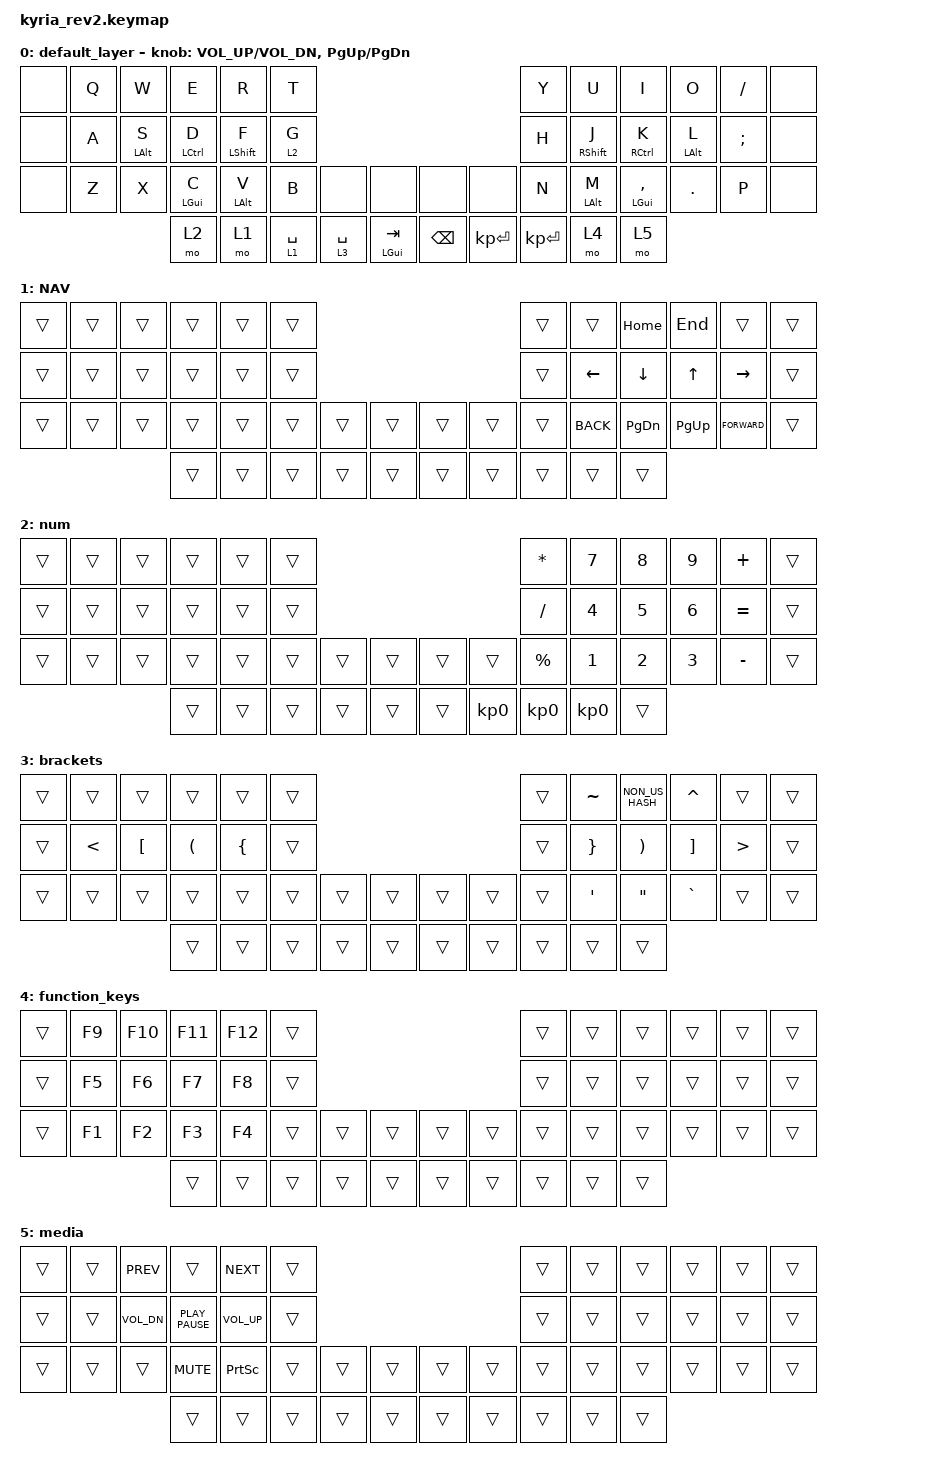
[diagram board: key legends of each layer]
/*
 * Copyright (c) 2020 The ZMK Contributors
 *
 * SPDX-License-Identifier: MIT
 */

#include <behaviors.dtsi>
#include <dt-bindings/zmk/keys.h>

&mt {
    tapping-term-ms = <400>;
};

/ {
    combos {
        compatible = "zmk,combos";

        new_combo {
            bindings = <&kp ESCAPE>;
            key-positions = <7 8>;
        };
    };

    keymap {
        compatible = "zmk,keymap";

        default_layer {
            // ---------------------------------------------------------------------------------------------------------------------------------
            // |  ESC  |  Q  |  W  |  E   |  R   |  T   |                                          |  Y   |  U    |  I    |  O   |   P   |   \  |
            // |  TAB  |  A  |  S  |  D   |  F   |  G   |                                          |  H   |  J    |  K    |  L   |   ;   |   '  |
            // | SHIFT |  Z  |  X  |  C   |  V   |  B   | L SHIFT | L SHIFT |  | L SHIFT | L SHIFT |  N   |  M    |  ,    |  .   |   /   | CTRL |
            //                     | GUI  | DEL  | RET  |  SPACE  |   ESC   |  |   RET   |  SPACE  | TAB  | BSPC  | R-ALT |

            bindings = <
  &none   &kp Q       &kp W        &kp E         &kp R        &kp T                                                                     &kp Y        &kp U           &kp I       &kp O  &kp SLASH   &none
  &none   &kp A  &mt LALT S  &mt LCTRL D  &mt LSHIFT F      &lt 2 G                                                                     &kp H  &mt RSHFT J     &mt RCTRL K  &mt LALT L   &kp SEMI   &none
  &none   &kp Z       &kp X   &mt LGUI C    &mt LALT V        &kp B        &none             &none          &none         &none         &kp N   &mt LALT M  &mt LGUI COMMA     &kp DOT      &kp P   &none
                                   &mo 2         &mo 1  &lt 1 SPACE  &lt 3 SPACE  &mt LEFT_GUI TAB  &kp BACKSPACE  &kp KP_ENTER  &kp KP_ENTER        &mo 4           &mo 5
            >;

            sensor-bindings = <&inc_dec_kp C_VOL_UP C_VOL_DN &inc_dec_kp PG_UP PG_DN>;
        };

        NAV {
            bindings = <
 &trans  &trans  &trans  &trans  &trans  &trans                                  &trans      &trans       &kp HOME      &kp END         &trans  &trans
 &trans  &trans  &trans  &trans  &trans  &trans                                  &trans    &kp LEFT       &kp DOWN       &kp UP      &kp RIGHT  &trans
 &trans  &trans  &trans  &trans  &trans  &trans  &trans  &trans  &trans  &trans  &trans  &kp K_BACK  &kp PAGE_DOWN  &kp PAGE_UP  &kp K_FORWARD  &trans
                         &trans  &trans  &trans  &trans  &trans  &trans  &trans  &trans      &trans         &trans
            >;
        };

        num {
            bindings = <
 &trans  &trans  &trans  &trans  &trans  &trans                                                  &kp STAR  &kp NUMBER_7  &kp NUMBER_8  &kp NUMBER_9   &kp PLUS  &trans
 &trans  &trans  &trans  &trans  &trans  &trans                                                 &kp SLASH  &kp NUMBER_4  &kp NUMBER_5  &kp NUMBER_6  &kp EQUAL  &trans
 &trans  &trans  &trans  &trans  &trans  &trans  &trans  &trans  &trans           &trans      &kp PERCENT  &kp NUMBER_1  &kp NUMBER_2  &kp NUMBER_3  &kp MINUS  &trans
                         &trans  &trans  &trans  &trans  &trans  &trans  &kp KP_NUMBER_0  &kp KP_NUMBER_0     &kp KP_N0        &trans
            >;
        };

        brackets {
            bindings = <
 &trans         &trans            &trans                &trans          &trans  &trans                                  &trans         &kp TILDE        &kp NON_US_HASH          &kp CARET            &trans  &trans
 &trans  &kp LESS_THAN  &kp LEFT_BRACKET  &kp LEFT_PARENTHESIS  &kp LEFT_BRACE  &trans                                  &trans   &kp RIGHT_BRACE  &kp RIGHT_PARENTHESIS  &kp RIGHT_BRACKET  &kp GREATER_THAN  &trans
 &trans         &trans            &trans                &trans          &trans  &trans  &trans  &trans  &trans  &trans  &trans  &kp SINGLE_QUOTE      &kp DOUBLE_QUOTES          &kp GRAVE            &trans  &trans
                                                        &trans          &trans  &trans  &trans  &trans  &trans  &trans  &trans            &trans                 &trans
            >;
        };

        function_keys {
            bindings = <
 &trans  &kp F9  &kp F10  &kp F11  &kp F12  &trans                                  &trans  &trans  &trans  &trans  &trans  &trans
 &trans  &kp F5   &kp F6   &kp F7   &kp F8  &trans                                  &trans  &trans  &trans  &trans  &trans  &trans
 &trans  &kp F1   &kp F2   &kp F3   &kp F4  &trans  &trans  &trans  &trans  &trans  &trans  &trans  &trans  &trans  &trans  &trans
                           &trans   &trans  &trans  &trans  &trans  &trans  &trans  &trans  &trans  &trans
            >;
        };

        media {
            bindings = <
 &trans  &trans    &kp K_PREV            &trans    &kp K_NEXT  &trans                                  &trans  &trans  &trans  &trans  &trans  &trans
 &trans  &trans  &kp K_VOL_DN  &kp K_PLAY_PAUSE  &kp K_VOL_UP  &trans                                  &trans  &trans  &trans  &trans  &trans  &trans
 &trans  &trans        &trans        &kp K_MUTE     &kp PSCRN  &trans  &trans  &trans  &trans  &trans  &trans  &trans  &trans  &trans  &trans  &trans
                                         &trans        &trans  &trans  &trans  &trans  &trans  &trans  &trans  &trans  &trans
            >;
        };
    };
};
